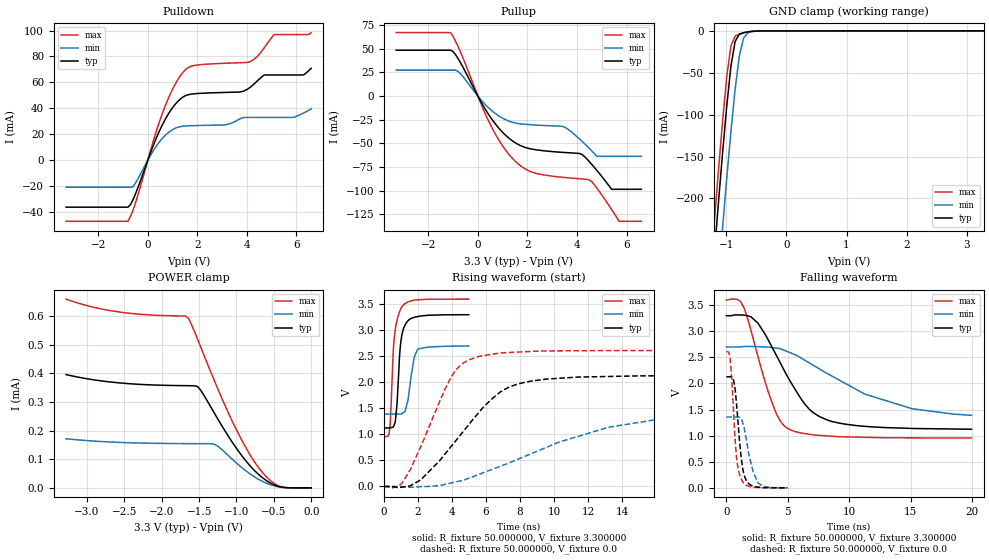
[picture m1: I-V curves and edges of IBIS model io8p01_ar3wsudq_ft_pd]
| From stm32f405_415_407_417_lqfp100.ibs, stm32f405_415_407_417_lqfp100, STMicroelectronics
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|   Model io8p01_ar3wsudq_ft_pd
[Model]  io8p01_ar3wsudq_ft_pd
Model_type I/O
Polarity   Non-Inverting
Enable   Active-Low
Vinl =   0.990000V
Vinh =   2.310000V
Vmeas =  1.650000V
Cref =   50.000000pF
Rref =   100.000000M
Vref =   0.0V
C_comp   3.843200pF   3.762100pF   3.937000pF
[Temperature Range]   25.000000   0.125000k   -40.000000
[Pullup Reference]   3.300000V   2.700000V   3.600000V
[Pulldown Reference]   0.0V   0.0V   0.0V
[POWER Clamp Reference]   3.300000V   2.700000V   3.600000V
[GND Clamp Reference]   0.0V   0.0V   0.0V
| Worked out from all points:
|   slope of the pulldown table from 0 to 0.495 V, typ, clamps not added: 20.9 ohm
|   slope of the pullup table from 0 to 0.495 V, typ, clamps not added: 22.6 ohm
|   GND clamp passes 1 mA (typ) near -0.62 V on its own axis
|   rising waveform, R_fixture 50.000000, V_fixture 3.300000: 20-80 % time 270ps typ, 352ps min, 283ps max; typ from 1.12 V to 3.3 V
|   rising waveform, R_fixture 50.000000, V_fixture 0.0: 20-80 % time 3.35ns typ, 6.78ns min, 2.11ns max; typ from 0 V to 2.13 V
|   falling waveform, R_fixture 50.000000, V_fixture 3.300000: 20-80 % time 3.21ns typ, 6.81ns min, 2.02ns max; typ from 3.3 V to 1.12 V
|   falling waveform, R_fixture 50.000000, V_fixture 0.0: 20-80 % time 504ps typ, 745ps min, 424ps max; typ from 2.13 V to 0 V
[Pulldown]
|Voltage   I(typ)   I(min)   I(max)
-3.3V     -36.18mA   -20.77mA   -47.07mA
-800mV    -36.18mA   -20.77mA   -47.07mA
-600mV    -30.5mA    -20.52mA   -38.69mA
700mV     31.4mA     19.11mA    41.71mA
1.2V      45.15mA    25.37mA    61.75mA
1.6V      50.35mA    26.5mA     71.06mA
3.1V      52.27mA    27.26mA    74.75mA
4.1V      55.7mA     33.01mA    75.8mA
4.7V      65.73mA    33.01mA    86.69mA
5.1V      65.73mA    33.01mA    96.89mA
6.3V      65.85mA    36.49mA    96.89mA
6.6V      70.9mA     39.7mA     98.44mA
[Pullup]
|Voltage   I(typ)   I(min)   I(max)
-3.3V     48.54mA    27.45mA    67.15mA
-1.1V     48.54mA    27.45mA    66.87mA
-700mV    35.13mA    23.48mA    46.33mA
500mV     -22.07mA   -14mA      -30.03mA
1.5V      -49.1mA    -28.3mA    -68.56mA
2.2V      -56.04mA   -30.32mA   -80.35mA
3.5V      -59.53mA   -32.72mA   -85.92mA
4.5V      -69.21mA   -55.27mA   -88.44mA
4.8V      -78.37mA   -63.6mA    -97.02mA
5.4V      -98.4mA    -63.6mA    -119.7mA
5.7V      -98.4mA    -63.6mA    -132.2mA
6.6V      -98.4mA    -63.6mA    -132.2mA
[GND_clamp]
|Voltage   I(typ)   I(min)   I(max)
-3.3V     -2.325A    -2.404A    -2.299A
-1.2V     -270.2mA   -361.4mA   -232.1mA
-1.13V    -207.3mA   -298.1mA   -169mA
-1.06V    -146.7mA   -236.2mA   -108.8mA
-990mV    -90.18mA   -176.4mA   -54.97mA
-920mV    -42.21mA   -120mA     -17.69mA
-850mV    -12.58mA   -69.47mA   -6.279mA
-780mV    -3.983mA   -30.01mA   -3.9mA
-710mV    -2.112mA   -8.623mA   -2.396mA
-640mV    -1.159mA   -2.292mA   -1.234mA
-570mV    -535.1uA   -830.5uA   -490.2uA
3.28V     81.28uA    57.87uA    93.98uA
[POWER_clamp]
|Voltage   I(typ)   I(min)   I(max)
-3.28V    395.3uA    171.3uA    658.7uA
-2.6V     367.1uA    159uA      614.9uA
-1.68V    356.7uA    154.4uA    599.4uA
-1.64V    356.5uA    154.4uA    590.8uA
-1.52V    353.6uA    154.3uA    518.3uA
-1.48V    341.1uA    154.2uA    492.3uA
-1.28V    253.6uA    150.4uA    364.2uA
-960mV    123.1uA    77.56uA    181.6uA
-720mV    50.52uA    32.03uA    76.18uA
-560mV    18.94uA    12.27uA    28.65uA
-440mV    5.104uA    3.69uA     7.327uA
0V        0A         0A         0A
[Ramp]
| variable   typ   min   max
dV/dt_r  1.27812/3.35922n   0.79776/6.76789n   1.56636/2.11275n
dV/dt_f  1.30194/3.21401n   0.74100/6.77912n   1.58738/2.02043n
R_load = 50.000000
[Rising Waveform]
R_fixture= 50.000000
V_fixture= 3.300000
V_fixture_min= 2.700000
V_fixture_max= 3.600000
|time   V(typ)   V(min)   V(max)
0s        1.123V     1.391V     953.9mV
360.4ps   1.126V     1.391V     1.185V
550.6ps   1.144V     1.391V     2.614V
660.7ps   1.236V     1.39V      3V
930.9ps   2.569V     1.392V     3.369V
1.031ns   2.863V     1.396V     3.438V
1.411ns   3.182V     1.655V     3.546V
1.782ns   3.248V     2.479V     3.579V
1.982ns   3.263V     2.635V     3.584V
4.985ns   3.299V     2.699V     3.598V
[Rising Waveform]
R_fixture= 50.000000
V_fixture= 0.0
V_fixture_min= 0.0
V_fixture_max= 0.0
|time   V(typ)   V(min)   V(max)
0s        357.3uV    204.3uV    681.7uV
1.041ns   -12.83mV   -1.324mV   56.47mV
2.162ns   126.4mV    -3.363mV   765.6mV
3.844ns   725.8mV    60.54mV    2.033V
4.364ns   935.4mV    98.84mV    2.285V
5.005ns   1.195V     160.8mV    2.432V
6.807ns   1.807V     384.6mV    2.563V
8.609ns   2.021V     623.3mV    2.593V
13.21ns   2.112V     1.138V     2.611V
19.94ns   2.128V     1.357V     2.611V
[Falling Waveform]
R_fixture= 50.000000
V_fixture= 3.300000
V_fixture_min= 2.700000
V_fixture_max= 3.600000
|time   V(typ)   V(min)   V(max)
0s        3.299V     2.699V     3.598V
920.9ps   3.313V     2.699V     3.608V
1.481ns   3.307V     2.709V     3.427V
2.563ns   3.158V     2.705V     2.526V
3.804ns   2.657V     2.686V     1.58V
5.045ns   2.105V     2.604V     1.132V
6.727ns   1.512V     2.397V     1.027V
8.609ns   1.27V      2.14V      989.3mV
15.14ns   1.139V     1.515V     957.7mV
19.94ns   1.123V     1.391V     953.9mV
[Falling Waveform]
R_fixture= 50.000000
V_fixture= 0.0
V_fixture_min= 0.0
V_fixture_max= 0.0
|time   V(typ)   V(min)   V(max)
0s        2.128V     1.357V     2.611V
300.3ps   2.129V     1.357V     2.489V
470.5ps   2.117V     1.357V     1.963V
620.6ps   2.029V     1.357V     1.315V
840.8ps   1.576V     1.359V     557.4mV
1.201ns   596.4mV    1.319V     176.8mV
1.622ns   146.7mV    928mV      49.83mV
2.182ns   33.62mV    307.5mV    12.06mV
2.583ns   15.14mV    93.93mV    6.521mV
4.985ns   357.3uV    204.3uV    681.7uV
